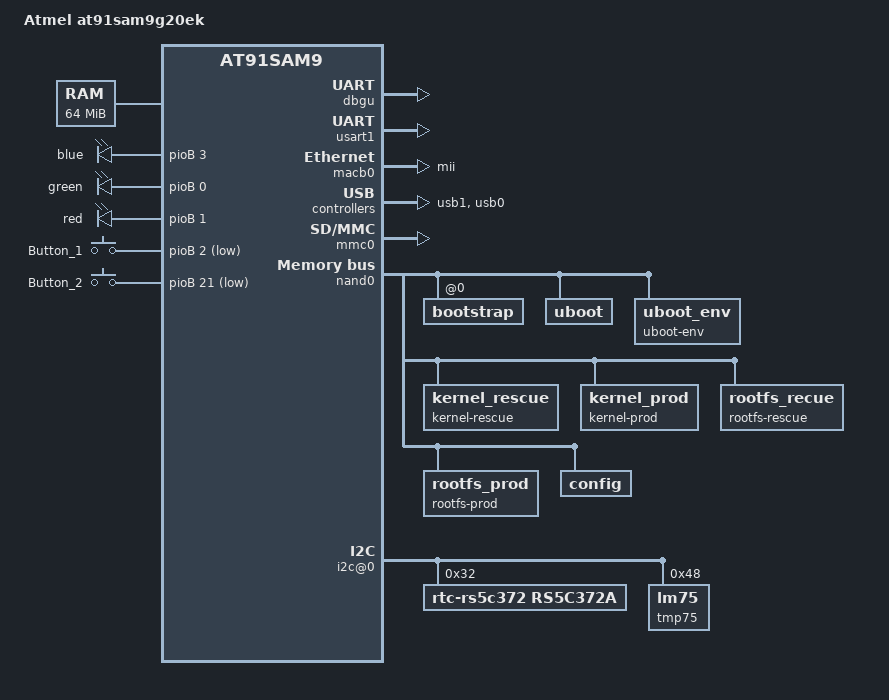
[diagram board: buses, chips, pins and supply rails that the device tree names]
/*
 * dss1gb.dts - Device Tree file for digitalSTROM dSS11-1GB
 *
 *  Copyright (C) 2014 Ulrich Prinz <ulrich.prinz@digitalstrom.com>
 *
 * Licensed under GPLv2 or later.
 */

/dts-v1/;
#include "at91sam9g20.dtsi"

/ {
/*
	model = "dititalSTROM dSS11-SD";
	compatible = "digitalstrom,dss11-1gb", "atmel,at91sam9g20", "atmel,at91sam9";
*/
	model = "Atmel at91sam9g20ek";
	compatible = "atmel,at91sam9g20ek", "atmel,at91sam9g20", "atmel,at91sam9";

	chosen {
		bootargs = "mem=64M console=ttyS0,115200 root=/dev/mtdblock6 rw rootfstype=jffs2";
	};

	memory {
		reg = <0x20000000 0x4000000>;
	};

	clocks {
		#address-cells = <1>;
		#size-cells = <1>;
		ranges;

		main_clock: clock@0 {
			compatible = "atmel,osc", "fixed-clock";
			clock-frequency = <18432000>;
		};
	};

	ahb {
		apb {
			pinctrl@fffff400 {
				board {
					pinctrl_pck0_as_mck: pck0_as_mck {
						atmel,pins =
							<AT91_PIOC 1 AT91_PERIPH_B AT91_PINCTRL_NONE>;	/* PC1 periph B */
					};

				};

				mmc0_slot1 {
					pinctrl_board_mmc0_slot1: mmc0_slot1-board {
						atmel,pins =
							<AT91_PIOB 20 AT91_PERIPH_GPIO AT91_PINCTRL_PULL_UP_DEGLITCH>;	/* PB20 gpio CD pin pull up and deglitch */
					};

					pinctrl_board_mmc0_slot1_cmd_dat0: mmc0_slot1_cmd_dat0-0 {
						atmel,pins =
							<AT91_PIOA 1 AT91_PERIPH_B AT91_PINCTRL_NONE	/* PA1 periph B with pullup */
							 AT91_PIOA 0 AT91_PERIPH_B AT91_PINCTRL_NONE>;	/* PA0 periph B with pullup */
					};

					pinctrl_board_mmc0_slot1_dat1_3: mmc0_slot1_dat1_3-0 {
						atmel,pins =
							<AT91_PIOA 5 AT91_PERIPH_B AT91_PINCTRL_NONE	/* PA5 periph B with pullup */
							 AT91_PIOA 4 AT91_PERIPH_B AT91_PINCTRL_NONE	/* PA4 periph B with pullup */
							 AT91_PIOA 3 AT91_PERIPH_B AT91_PINCTRL_NONE>;	/* PA3 periph B with pullup */
					};
				};

				usart1 {
					pinctrl_usart1: usart1-0 {
						atmel,pins =
							<AT91_PIOB 6 AT91_PERIPH_A AT91_PINCTRL_PULL_UP	/* PB6 periph A with pullup */
							 AT91_PIOB 7 AT91_PERIPH_A AT91_PINCTRL_NONE>;	/* PB7 periph A */
					};

					pinctrl_usart1_rts: usart1_rts-0 {
						atmel,pins =
							<AT91_PIOB 28 AT91_PERIPH_A AT91_PINCTRL_NONE>;	/* PB28 periph A */
					};

					pinctrl_usart1_cts: usart1_cts-0 {
						atmel,pins =
							<AT91_PIOB 29 AT91_PERIPH_A AT91_PINCTRL_NONE>;	/* PB29 periph A */
					};
				};

				gpio_keys {
					pinctrl_btn1: btn1 {
						atmel,pins =
							<AT91_PIOB 2 AT91_PERIPH_GPIO AT91_PINCTRL_PULL_UP_DEGLITCH>;
					};

					pinctrl_btn2: btn2 {
						atmel,pins =
							<AT91_PIOB 21 AT91_PERIPH_GPIO AT91_PINCTRL_PULL_UP_DEGLITCH>;
					};
				};

				i2c0 {
					pinctrl_i2c0: i2c0-0 {
						atmel,pins =
							<AT91_PIOA 23 AT91_PERIPH_A AT91_PINCTRL_MULTI_DRIVE	/* TWD (SDA), open drain */
							 AT91_PIOA 24 AT91_PERIPH_A AT91_PINCTRL_MULTI_DRIVE>;	/* TWCK (SCL), open drain */
					};
				};
			};

			dbgu: serial@fffff200 {
				status = "okay";
			};

			usart1: serial@fffb4000 {
				pinctrl-0 =
					<&pinctrl_usart1
					 &pinctrl_usart1_rts>;
				rs485-rts-delay = <0 0>;
				rs485-rx-during-tx;
				linux,rs485-enabled-at-boot-time;
				atmel,use-dma-rx;
				atmel,use-dma-tx;
				status = "okay";
			};

			macb0: ethernet@fffc4000 {
				phy-mode = "mii";
				pinctrl-0 = <&pinctrl_macb_rmii &pinctrl_macb_rmii_mii_alt>;
				status = "okay";
			};

			usb1: gadget@fffa4000 {
				atmel,vbus-gpio = <&pioC 5 GPIO_ACTIVE_HIGH>;
				status = "okay";
			};

			mmc0: mmc@fffa8000 {
				pinctrl-0 = <
					&pinctrl_board_mmc0_slot1
					&pinctrl_mmc0_clk
					&pinctrl_board_mmc0_slot1_cmd_dat0
					&pinctrl_board_mmc0_slot1_dat1_3>;
				status = "okay";
				slot@1 {
					reg = <0>;
					bus-width = <4>;
					cd-gpios = <&pioB 20 GPIO_ACTIVE_HIGH>;
					cd-inverted;
				};
			};

			ssc0: ssc@fffbc000 {
				status = "okay";
				pinctrl-0 = <&pinctrl_ssc0_tx>;
			};

			spi0: spi@fffc8000 {
				status = "disabled";
			};

			watchdog@fffffd40 {
				status = "disabled";
			};
		};

		nand0: nand@40000000 {
			nand-bus-width = <16>;
			nand-on-flash-bbt;
			nand-ecc-mode = "hw";
			status = "okay";

			bootstrap@00000000 {
				label = "bootstrap";
				reg = <0x00000000 0x00020000>;
			};

			uboot@0x00020000 {
				label = "uboot";
				reg = <0x00020000 0x00060000>;
			};

			uboot_env@0x00060000 {
				label = "uboot-env";
				reg = <0x00060000 0x000a0000>;
			};

			kernel_rescue@0x000a0000 {
				label = "kernel-rescue";
				reg = <0x000a0000 0x002a0000>;
			};

			kernel_prod@0x002a0000 {
				label = "kernel-prod";
				reg = <0x002a0000 0x004a0000>;
			};

			rootfs_recue@0x004a0000 {
				label = "rootfs-rescue";
				reg = <0x004a0000 0x024a0000>;
			};

			rootfs_prod@0x024a0000 {
				label = "rootfs-prod";
				reg = <0x024a0000 0x0eca0000>;
			};

			config@0x0eca0000 {
				label = "config";
				reg = <0x0eca0000 0x10000000>;
			};
		};

		rtc@fffffd30 {
			compatible = "atmel,at91rm9200-rtc";
			reg = <0xfffffd30 0x10>;
			interrupts = <1 4 7>;
		};

		usb0: ohci@00500000 {
			num-ports = <2>;
			status = "okay";
		};
	};

	i2c@0 {
		status = "okay";

		rs5c372a@32 {
			compatible = "rtc-rs5c372,rs5c372a";
			reg = <0x32>;
		};
		
		tmp75@48 {
			compatible = "lm75";
			reg = <0x48>;
		};
	};

	leds {
		compatible = "gpio-leds";
		led_blue {
			label = "blue";
			gpios = <&pioB 3 GPIO_ACTIVE_HIGH>;
			linux,default-trigger = "heartbeat";
		};

		led_green {
			label = "green";
			gpios = <&pioB 0 GPIO_ACTIVE_HIGH>;
			linux,default-trigger = "none";
		};

		led_red {
			label = "red";
			gpios = <&pioB 1 GPIO_ACTIVE_HIGH>;
			linux,default-trigger = "none";
		};
	};

	gpio_keys {
		compatible = "gpio-keys";
		#address-cells = <1>;
		#size-cells = <0>;

		btn1 {
			label = "Button_1";
			gpios = <&pioB 2 GPIO_ACTIVE_LOW>;
			linux,code = <0x101>;
			gpio-key,wakeup;
		};

		btn2 {
			label = "Button_2";
			gpios = <&pioB 21 GPIO_ACTIVE_LOW>;
			linux,code = <0x102>;
			gpio-key,wakeup;
		};
	};
};
